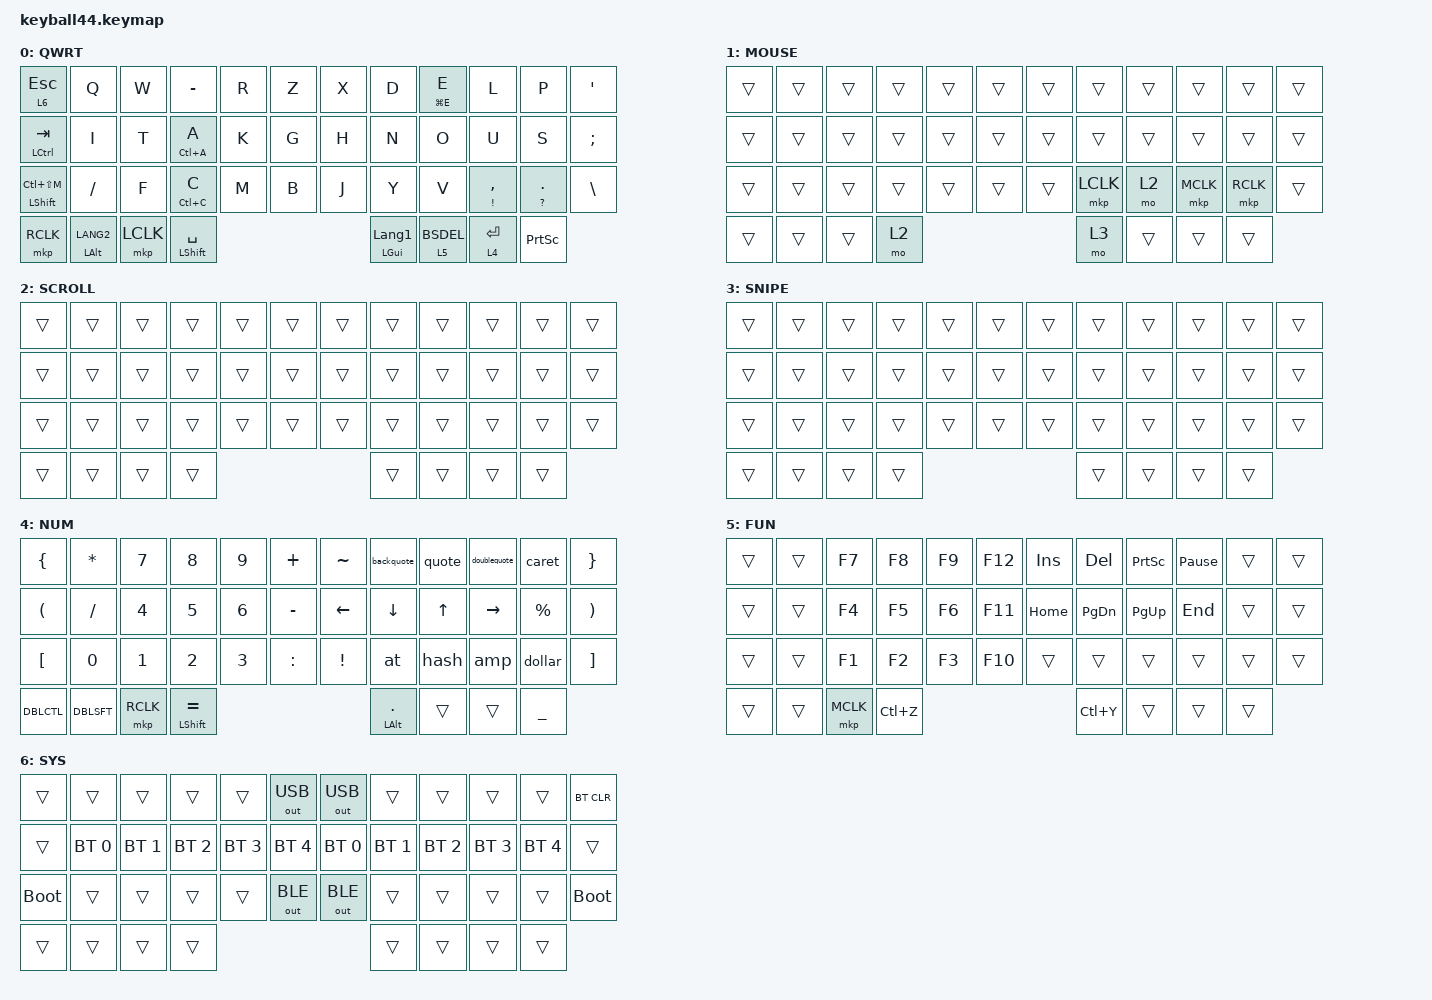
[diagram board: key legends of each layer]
#define DEFAULT 0
#define NUM     1
#define SYM     2
#define FUN     3
#define MOUSE   4
#define SCROLL  5
#define SNIPE   6

#include <behaviors/mouse_keys.dtsi>
#include <dt-bindings/zmk/mouse.h>
#include <behaviors.dtsi>
#include <dt-bindings/zmk/bt.h>
#include <dt-bindings/zmk/keys.h>
#include <dt-bindings/zmk/outputs.h>
#include <dt-bindings/zmk/pointing.h>

&lt {
    tapping-term-ms = <240>;
    flavor = "balanced";
    quick-tap-ms = <150>;
};

&mt {
    tapping-term-ms = <200>;
    flavor = "tap-preferred";
    quick-tap-ms = <150>;
};

&caps_word { continue-list = <UNDERSCORE MINUS>; };

/ {
    // custom shift using mod-morph 

    behaviors {
        BSDEL: BSDEL {
            compatible = "zmk,behavior-mod-morph";
            label = "BSDEL";
            bindings = <&kp BACKSPACE>, <&kp DEL>;

            #binding-cells = <0>;
            mods = <(MOD_LSFT|MOD_RSFT)>;
        };

        lt_bsdel: lt_bsdel {
            compatible = "zmk,behavior-hold-tap";
            label = "LT_BSDEL";
            bindings = <&mo>, <&BSDEL>;

            #binding-cells = <2>;
            tapping-term-ms = <200>;
            flavor = "tap-preferred";
            quick-tap-ms = <300>;
        };

        holdtap: holdtap {
            compatible = "zmk,behavior-hold-tap";
            label = "HOLDTAP";
            bindings = <&kp>, <&kp>;

            #binding-cells = <2>;
            tapping-term-ms = <300>;
            quick-tap-ms = <250>;
            require-prior-idle-ms = <150>;
            flavor = "tap-preferred";
        };
    };

    combos {
        compatible = "zmk,combos";

        win_mv_right {
            bindings = <&winmvright>;
            key-positions = <9 10>;
            slow-release;
            layers = <0 1>;
        };

        win_mv_left {
            bindings = <&winmvleft>;
            key-positions = <1 2>;
            slow-release;
            layers = <0 1>;
        };

        braces {
            bindings = <&braces>;
            key-positions = <2 3>;
            layers = <0 1>;
        };

        brackets {
            bindings = <&brackets>;
            key-positions = <26 27>;
            layers = <0 1>;
        };

        parenthesis {
            bindings = <&parenthesis>;
            key-positions = <14 15>;
            layers = <0 1>;
        };

        jis_ime {
            bindings = <&kp LA(GRAVE)>;
            key-positions = <8 9>;
            layers = <0 1>;
        };

        paste {
            bindings = <&holdtap LG(V) LC(V)>;
            key-positions = <19 20>;
        };
    };

    macros {
        DBLSFT: DBLSFT {
            compatible = "zmk,behavior-macro";
            #binding-cells = <0>;
            bindings = <&kp LEFT_SHIFT &kp LEFT_SHIFT>;
            label = "DBLSFT";
        };

        DBLCTL: DBLCTL {
            compatible = "zmk,behavior-macro";
            #binding-cells = <0>;
            bindings = <&kp LCTRL &kp LCTRL>;
            label = "DBLCTL";
        };

        winmvright: winmvright {
            compatible = "zmk,behavior-macro";
            #binding-cells = <0>;
            bindings =
                <&macro_press>,
                <&kp LEFT_GUI &kp RIGHT>,
                <&macro_release>,
                <&kp RIGHT &kp LEFT_WIN>;

            label = "WINMVRIGHT";
        };

        winmvleft: winmvleft {
            compatible = "zmk,behavior-macro";
            #binding-cells = <0>;
            bindings =
                <&macro_press>,
                <&kp LEFT_GUI &kp LEFT>,
                <&macro_release>,
                <&kp LEFT &kp LEFT_WIN>;

            label = "WINMVLEFT";
        };

        at: at {
            compatible = "zmk,behavior-macro";
            #binding-cells = <0>;
            bindings = <&kp LANGUAGE_2 &kp AT_SIGN>;
            label = "AT";
        };

        hash: hash {
            compatible = "zmk,behavior-macro";
            #binding-cells = <0>;
            bindings = <&kp LANGUAGE_2 &kp HASH>;
            label = "HASH";
        };

        amp: amp {
            compatible = "zmk,behavior-macro";
            #binding-cells = <0>;
            bindings = <&kp LANGUAGE_2 &kp AMPERSAND>;
            label = "AMP";
        };

        dollar: doller {
            compatible = "zmk,behavior-macro";
            #binding-cells = <0>;
            bindings = <&kp LANGUAGE_2 &kp DOLLAR>;
            label = "DOLLER";
        };

        backquote: backquote {
            compatible = "zmk,behavior-macro";
            #binding-cells = <0>;
            bindings = <&kp LANGUAGE_2 &kp GRAVE>;
            label = "BACKQUOTE";
        };

        quote: quote {
            compatible = "zmk,behavior-macro";
            #binding-cells = <0>;
            bindings = <&kp LANGUAGE_2 &kp SINGLE_QUOTE>;
            label = "QUOTE";
        };

        doublequote: doublequote {
            compatible = "zmk,behavior-macro";
            #binding-cells = <0>;
            bindings = <&kp LANGUAGE_2 &kp DOUBLE_QUOTES>;
            label = "DOUBLEQUOTE";
        };

        caret: caret {
            compatible = "zmk,behavior-macro";
            #binding-cells = <0>;
            bindings = <&kp LANGUAGE_2 &kp CARET>;
            label = "CARET";
        };

        pipe: pipe {
            compatible = "zmk,behavior-macro";
            #binding-cells = <0>;
            bindings = <&kp LANGUAGE_2 &kp PIPE>;
            label = "PIPE";
        };

        parenthesis: parenthesis {
            compatible = "zmk,behavior-macro";
            #binding-cells = <0>;
            bindings = <&kp LANGUAGE_2 &kp LEFT_PARENTHESIS &kp RIGHT_PARENTHESIS &kp LEFT_ARROW>;
            label = "PARENTHESIS";
        };

        brackets: brackets {
            compatible = "zmk,behavior-macro";
            #binding-cells = <0>;
            bindings = <&kp LANGUAGE_2 &kp LEFT_BRACKET &kp RIGHT_BRACKET &kp LEFT>;
            label = "BRACKETS";
        };

        braces: braces {
            compatible = "zmk,behavior-macro";
            #binding-cells = <0>;
            bindings = <&kp LANGUAGE_2 &kp LEFT_BRACE &kp RIGHT_BRACE &kp LEFT>;
            label = "BRACES";
        };
    };

    keymap {
        compatible = "zmk,keymap";

        default_layer {
            label = "QWRT";
            bindings = <
&lt 6 ESCAPE                   &kp Q               &kp W      &kp MINUS             &kp R                    &kp Z                     &kp X        &kp D  &holdtap LG(E) E  &kp L                &kp P                     &kp SQT
&mt LCTRL TAB                  &kp I               &kp T      &holdtap LC(A) A      &kp K                    &kp G                     &kp H        &kp N  &kp O             &kp U                &kp S                     &kp SEMICOLON
&holdtap LEFT_SHIFT LC(LS(M))  &kp SLASH           &kp F      &holdtap LC(C) C      &kp M                    &kp B                     &kp J        &kp Y  &kp V             &holdtap EXCL COMMA  &holdtap QUESTION PERIOD  &kp BACKSLASH
&mkp RCLK                      &mt LEFT_ALT LANG2  &mkp LCLK  &mt LEFT_SHIFT SPACE  &mt LEFT_GUI LANGUAGE_1             &lt_bsdel 5 0  &lt 4 ENTER                                                &kp PRINTSCREEN
            >;
        };

        mouse_layer {
            label = "MOUSE";
            bindings = <
&trans  &trans  &trans  &trans  &trans  &trans              &trans  &trans     &trans  &trans     &trans     &trans
&trans  &trans  &trans  &trans  &trans  &trans              &trans  &trans     &trans  &trans     &trans     &trans
&trans  &trans  &trans  &trans  &trans  &trans              &trans  &mkp LCLK  &mo 2   &mkp MCLK  &mkp RCLK  &trans
&trans  &trans  &trans  &mo 2   &mo 3               &trans  &trans                                &trans
            >;
        };

        scroll_layer {
            label = "SCROLL";
            bindings = <
&trans  &trans  &trans  &trans  &trans  &trans              &trans  &trans  &trans  &trans  &trans  &trans
&trans  &trans  &trans  &trans  &trans  &trans              &trans  &trans  &trans  &trans  &trans  &trans
&trans  &trans  &trans  &trans  &trans  &trans              &trans  &trans  &trans  &trans  &trans  &trans
&trans  &trans  &trans  &trans  &trans              &trans  &trans                          &trans
            >;
        };

        snipe_layer {
            label = "SNIPE";
            bindings = <
&trans  &trans  &trans  &trans  &trans  &trans              &trans  &trans  &trans  &trans  &trans  &trans
&trans  &trans  &trans  &trans  &trans  &trans              &trans  &trans  &trans  &trans  &trans  &trans
&trans  &trans  &trans  &trans  &trans  &trans              &trans  &trans  &trans  &trans  &trans  &trans
&trans  &trans  &trans  &trans  &trans              &trans  &trans                          &trans
            >;
        };

        number_layer {
            label = "NUM";
            bindings = <
&kp LEFT_BRACE        &kp ASTERISK  &kp NUMBER_7  &kp NUMBER_8          &kp NUMBER_9         &kp PLUS               &kp TILDE        &backquote  &quote  &doublequote  &caret       &kp RIGHT_BRACE
&kp LEFT_PARENTHESIS  &kp SLASH     &kp NUMBER_4  &kp NUMBER_5          &kp NUMBER_6         &kp MINUS              &kp LEFT         &kp DOWN    &kp UP  &kp RIGHT     &kp PERCENT  &kp RIGHT_PARENTHESIS
&kp LEFT_BRACKET      &kp NUMBER_0  &kp NUMBER_1  &kp NUMBER_2          &kp NUMBER_3         &kp COLON              &kp EXCLAMATION  &at         &hash   &amp          &dollar      &kp RIGHT_BRACKET
&DBLCTL               &DBLSFT       &mkp RCLK     &mt LEFT_SHIFT EQUAL  &mt LEFT_ALT PERIOD                 &trans  &trans                                             &kp UNDER
            >;
        };

        function_layer {
            label = "FUN";
            bindings = <
&trans  &trans  &kp F7     &kp F8     &kp F9     &kp F12              &kp INS   &kp DEL        &kp PRINTSCREEN  &kp PAUSE_BREAK  &trans  &trans
&trans  &trans  &kp F4     &kp F5     &kp F6     &kp F11              &kp HOME  &kp PAGE_DOWN  &kp PG_UP        &kp END          &trans  &trans
&trans  &trans  &kp F1     &kp F2     &kp F3     &kp F10              &trans    &trans         &trans           &trans           &trans  &trans
&trans  &trans  &mkp MCLK  &kp LC(Z)  &kp LC(Y)               &trans  &trans                                                     &trans
            >;
        };

        system_layer {
            bindings = <
&trans       &trans        &trans        &trans        &trans        &out OUT_USB              &out OUT_USB  &trans        &trans        &trans        &trans        &bt BT_CLR
&trans       &bt BT_SEL 0  &bt BT_SEL 1  &bt BT_SEL 2  &bt BT_SEL 3  &bt BT_SEL 4              &bt BT_SEL 0  &bt BT_SEL 1  &bt BT_SEL 2  &bt BT_SEL 3  &bt BT_SEL 4  &trans
&bootloader  &trans        &trans        &trans        &trans        &out OUT_BLE              &out OUT_BLE  &trans        &trans        &trans        &trans        &bootloader
&trans       &trans        &trans        &trans        &trans                          &trans  &trans                                                  &trans
            >;

            label = "SYS";
        };
    };
};
